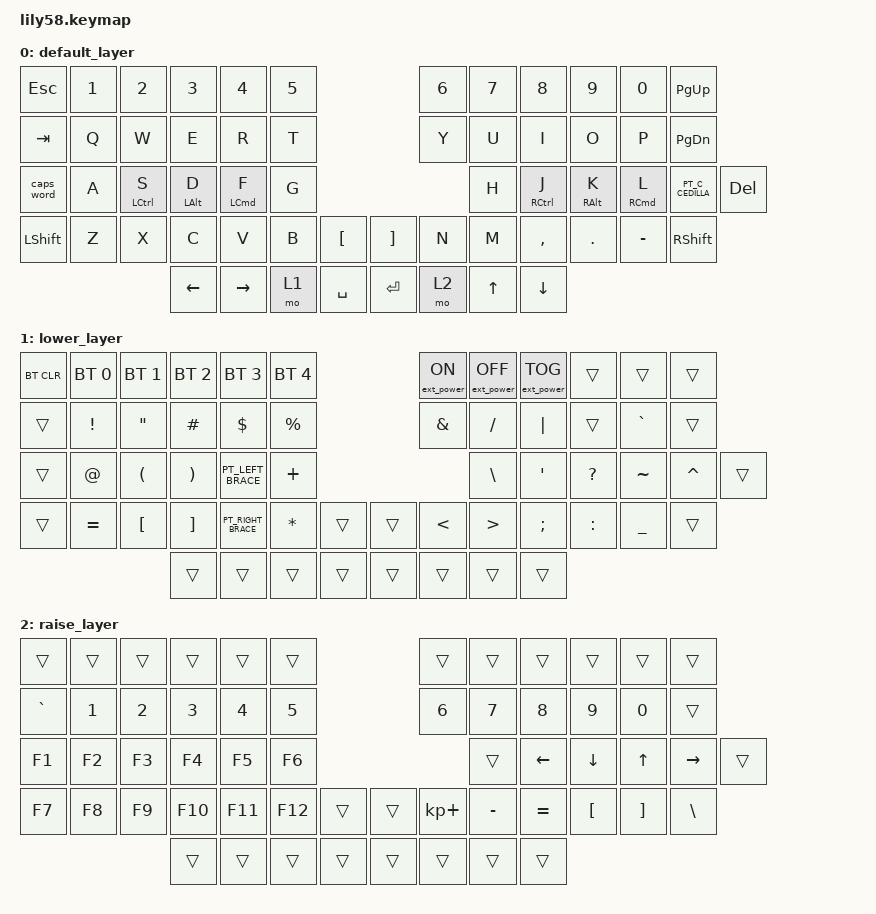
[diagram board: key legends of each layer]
/*
 * Copyright (c) 2020 The ZMK Contributors
 *
 * SPDX-License-Identifier: MIT
 */

#include <behaviors.dtsi>
#include <dt-bindings/zmk/bt.h>
#include <dt-bindings/zmk/ext_power.h>
#include <dt-bindings/zmk/keys.h>
#define HOST_OS 2
#include "zmk-helpers/helper.h"
#include "zmk-helpers/key-labels/lily58.h"
#include "zmk-helpers/unicode-chars/portuguese.dtsi"
#include "keys_pt.h"

/ {
    keymap {
        compatible = "zmk,keymap";

        default_layer {
            // ------------------------------------------------------------------------------------------------------------
            // |  ESC  |  1  |  2  |  3   |  4   |  5   |                   |  6   |  7    |  8    |  9   |   0   |   `   |
            // |  TAB  |  Q  |  W  |  E   |  R   |  T   |                   |  Y   |  U    |  I    |  O   |   P   |   -   |
            // |  CTRL |  A  |  S  |  D   |  F   |  G   |                   |  H   |  J    |  K    |  L   |   ;   |   '   |
            // | SHIFT |  Z  |  X  |  C   |  V   |  B   |   "["  |  |  "]"  |  N   |  M    |  ,    |  .   |   /   | SHIFT |
            //                     | ALT  | GUI  | LOWER|  SPACE |  | ENTER | RAISE| BSPC  | GUI   |

            bindings = <
&kp ESC     &kp N1  &kp N2              &kp N3          &kp N4              &kp N5                         &kp N6  &kp N7               &kp N8           &kp N9               &kp N0     &kp PAGE_UP
&kp TAB     &kp Q   &kp W               &kp E           &kp R               &kp T                          &kp Y   &kp U                &kp I            &kp O                &kp P      &kp PAGE_DOWN
&caps_word  &kp A   &mt LEFT_CONTROL S  &mt LEFT_ALT D  &mt LEFT_COMMAND F  &kp G                          &kp H   &mt RIGHT_CONTROL J  &mt RIGHT_ALT K  &mt RIGHT_COMMAND L  &kp PT_C_CEDILLA      &kp DELETE
&kp LSHFT   &kp Z   &kp X               &kp C           &kp V               &kp B   &kp LBKT     &kp RBKT  &kp N   &kp M                &kp COMMA        &kp DOT              &kp MINUS  &kp RSHFT
                                        &kp LEFT_ARROW  &kp RIGHT_ARROW     &mo 1   &kp SPACE    &kp RET   &mo 2   &kp UP_ARROW         &kp DOWN_ARROW
            >;
        };

        lower_layer {
            // ------------------------------------------------------------------------------------------------------------
            // | BTCLR | BT1 | BT2 |  BT3 |  BT4 |  BT5 |                   |      |       |       |      |       |       |
            // |  F1   |  F2 |  F3 |  F4  |  F5  |  F6  |                   |  F7  |  F8   |  F9   |  F10 |  F11  |  F12  |
            // |   `   |  !  |  @  |  #   |  $   |  %   |                   |  ^   |  &    |  *    |  (   |   )   |   ~   |
            // |       |     |     |      |      |      |        |  |       |      |  _    |  +    |  {   |   }   |  "|"  |
            //                     |      |      |      |        |  |       |      |       |       |

            bindings = <
&bt BT_CLR  &bt BT_SEL 0     &bt BT_SEL 1          &bt BT_SEL 2           &bt BT_SEL 3     &bt BT_SEL 4                    &ext_power EP_ON  &ext_power EP_OFF  &ext_power EP_TOG  &trans     &trans          &trans
&trans      &kp EXCLAMATION  &kp DOUBLE_QUOTES     &kp HASH               &kp DOLLAR       &kp PERCENT                     &kp AMPERSAND     &kp SLASH          &kp PIPE           &trans     &kp GRAVE       &trans
&trans      &kp AT_SIGN      &kp LEFT_PARENTHESIS  &kp RIGHT_PARENTHESIS  &kp PT_LEFT_BRACE   &kp PLUS                        &kp BACKSLASH     &kp SQT            &kp QUESTION       &kp TILDE  &kp CARET       &trans
&trans      &kp EQUAL        &kp LEFT_BRACKET      &kp RIGHT_BRACKET      &kp PT_RIGHT_BRACE  &kp ASTERISK  &trans    &trans  &kp LESS_THAN     &kp GREATER_THAN   &kp SEMICOLON      &kp COLON  &kp UNDERSCORE  &trans
                                                   &trans                 &trans           &trans        &trans    &trans  &trans            &trans             &trans
            >;
        };

        raise_layer {
            // ------------------------------------------------------------------------------------------------------------
            // |       |     |     |      |      |      |                   |      |       |       |      |       |       |
            // |   `   |  1  |  2  |  3   |  4   |  5   |                   |  6   |   7   |   8   |  9   |   0   |       |
            // |   F1  |  F2 |  F3 |  F4  |  F5  |  F6  |                   |      |   <-  |   v   |  ^   |  ->   |       |
            // |   F7  |  F8 |  F9 |  F10 |  F11 |  F12 |        |  |       |  +   |   -   |   =   |  [   |   ]   |   \   |
            //                     |      |      |      |        |  |       |      |       |       |

            bindings = <
&trans     &trans  &trans  &trans   &trans   &trans                     &trans       &trans     &trans     &trans    &trans     &trans
&kp GRAVE  &kp N1  &kp N2  &kp N3   &kp N4   &kp N5                     &kp N6       &kp N7     &kp N8     &kp N9    &kp N0     &trans
&kp F1     &kp F2  &kp F3  &kp F4   &kp F5   &kp F6                     &trans       &kp LEFT   &kp DOWN   &kp UP    &kp RIGHT  &trans
&kp F7     &kp F8  &kp F9  &kp F10  &kp F11  &kp F12  &trans    &trans  &kp KP_PLUS  &kp MINUS  &kp EQUAL  &kp LBKT  &kp RBKT   &kp BSLH
                           &trans   &trans   &trans   &trans    &trans  &trans       &trans     &trans
            >;
        };
    };
};
